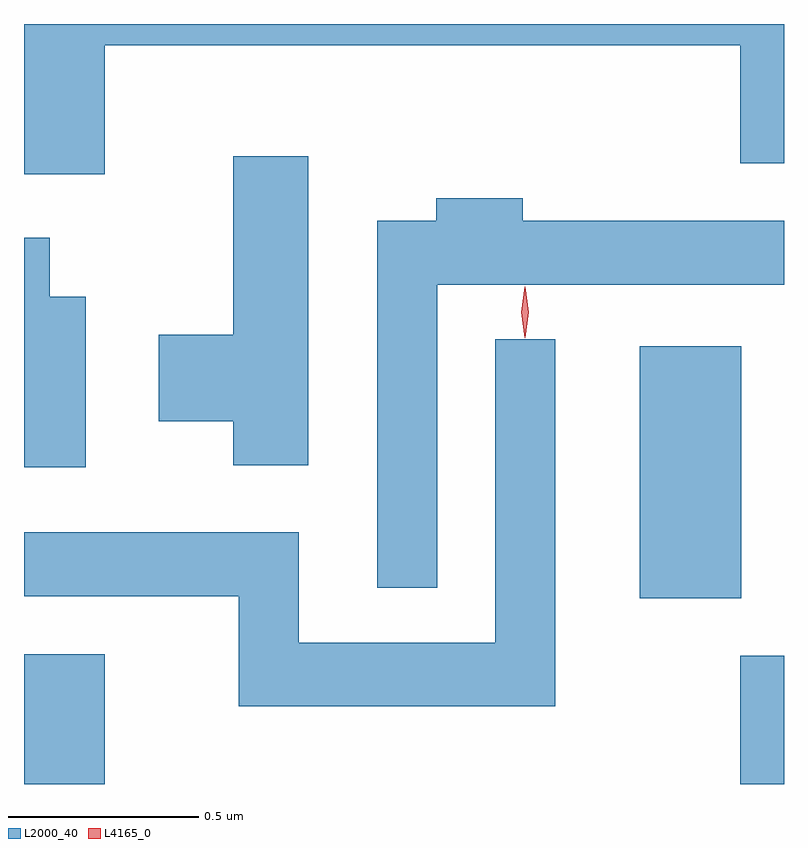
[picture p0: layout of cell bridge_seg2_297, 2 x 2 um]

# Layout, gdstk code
import gdstk
lib = gdstk.Library(unit=1e-6, precision=1e-09)
def R(c, l, rs):  # rectangles x0, y0, x1, y1
    for r in rs: c.add(gdstk.rectangle(r[:2], r[2:], *l))
def P(c, l, *ps):  # polygons
    for p in ps: c.add(gdstk.Polygon(p, *l))
L2000_40 = (2000, 40)
L4165_0 = (4165, 0)

bridge_seg2_297 = lib.new_cell('bridge_seg2_297')
R(bridge_seg2_297, L2000_40, [(549.226,1110.752,549.439,1111.094), (551.111,1110.752,551.226,1111.089), (550.846,1111.241,551.114,1111.904)])
P(bridge_seg2_297, L2000_40, [(549.439,1112.696),(551.111,1112.696),(551.111,1112.386),(551.226,1112.386),(551.226,1112.752),(549.226,1112.752),(549.226,1112.356),(549.439,1112.356)],
  [(549.974,1112.404),(549.776,1112.404),(549.776,1111.934),(549.581,1111.934),(549.581,1111.706),(549.776,1111.706),(549.776,1111.591),(549.974,1111.591)],
  [(550.314,1112.066),(551.226,1112.066),(551.226,1112.234),(550.539,1112.234),(550.539,1112.294),(550.311,1112.294),(550.311,1112.234),(550.156,1112.234),(550.156,1111.268),(550.314,1111.268)],
  [(549.389,1112.034),(549.294,1112.034),(549.294,1112.189),(549.226,1112.189),(549.226,1111.586),(549.389,1111.586)],
  [(550.624,1111.923),(550.466,1111.923),(550.466,1111.124),(549.949,1111.124),(549.949,1111.414),(549.226,1111.414),(549.226,1111.246),(549.791,1111.246),(549.791,1110.956),(550.624,1110.956)])
P(bridge_seg2_297, L4165_0, [(550.544,1111.927),(550.534,1111.994),(550.544,1112.06),(550.544,1112.06),(550.545,1112.06),(550.554,1111.994),(550.545,1111.927),(550.545,1111.927)])

lib.write_gds('bridge_seg2_297.gds')
